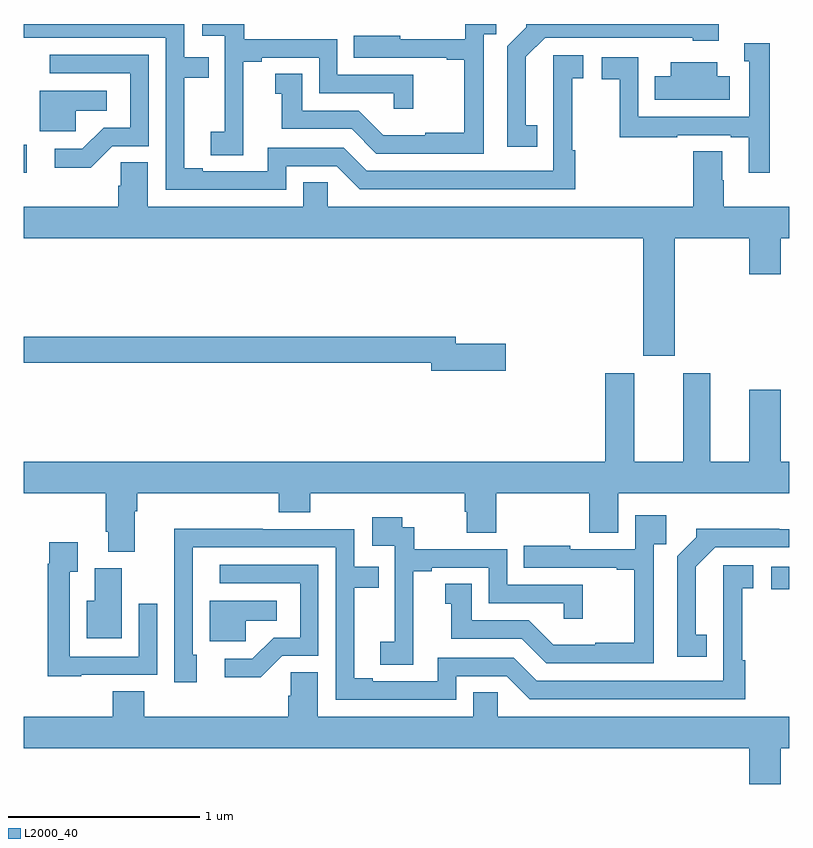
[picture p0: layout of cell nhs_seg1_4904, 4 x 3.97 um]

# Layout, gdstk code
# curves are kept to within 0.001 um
import gdstk
lib = gdstk.Library(unit=1e-6, precision=1e-09)
def R(c, l, rs):  # rectangles x0, y0, x1, y1
    for r in rs: c.add(gdstk.rectangle(r[:2], r[2:], *l))
def P(c, l, *ps):  # polygons
    for p in ps: c.add(gdstk.Polygon(p, *l))
L2000_40 = (2000, 40)

nhs_seg1_4904 = lib.new_cell('nhs_seg1_4904')
R(nhs_seg1_4904, L2000_40, [(380.907,535.246,381,535.362), (377,537.423,377.017,537.567)])
P(nhs_seg1_4904, L2000_40, [(378.372,537.456),(378.636,537.456),(378.756,537.336),(379.883,537.336),(379.883,537.539),(379.866,537.539),(379.866,537.915),(379.924,537.915),(379.924,538.036),(379.766,538.036),(379.767,537.432),(378.792,537.432),(378.672,537.552),(378.276,537.552),(378.276,537.429),(377.935,537.429),(377.935,537.444),(377.839,537.444),(377.839,537.918),(377.966,537.918),(377.966,538.026),(377.838,538.026),(377.838,538.199),(377,538.199),(377,538.128),(377.742,538.128),(377.742,537.333),(378.372,537.333)],
  [(379.404,538.145),(379.469,538.145),(379.469,538.199),(379.308,538.199),(379.308,538.119),(378.967,538.119),(378.967,538.138),(378.724,538.138),(378.724,538.023),(379.211,538.023),(379.211,538.011),(379.303,538.011),(379.303,537.631),(379.097,537.631),(379.097,537.619),(378.878,537.619),(378.75,537.747),(378.454,537.747),(378.454,537.938),(378.314,537.938),(378.314,537.835),(378.347,537.835),(378.347,537.651),(378.714,537.651),(378.843,537.522),(379.404,537.522)],
  [(379.682,537.671),(379.624,537.671),(379.624,538.027),(379.725,538.128),(380.496,538.128),(380.496,538.112),(380.632,538.112),(380.632,538.199),(379.626,538.199),(379.626,538.181),(379.527,538.082),(379.527,537.558),(379.682,537.558)],
  [(378.146,537.625),(378.148,537.625),(378.148,538.003),(378.244,538.003),(378.244,538.023),(378.543,538.023),(378.543,537.837),(378.933,537.837),(378.933,537.756),(379.034,537.756),(379.034,537.933),(378.639,537.933),(378.639,538.119),(378.152,538.119),(378.152,538.199),(377.934,538.199),(377.934,538.137),(378.051,538.137),(378.051,537.833),(378.05,537.833),(378.05,537.636),(377.976,537.636),(377.976,537.514),(378.146,537.514)],
  [(380.899,538.099),(380.765,538.099),(380.765,538.005),(380.79,538.005),(380.79,537.714),(380.211,537.714),(380.211,538.026),(380.019,538.026),(380.019,537.91),(380.113,537.91),(380.113,537.606),(380.414,537.606),(380.414,537.618),(380.693,537.618),(380.693,537.606),(380.789,537.606),(380.789,537.423),(380.899,537.423)],
  [(377.463,537.561),(377.652,537.561),(377.652,538.038),(377.136,538.038),(377.136,537.942),(377.556,537.942),(377.556,537.657),(377.418,537.657),(377.307,537.546),(377.163,537.546),(377.163,537.449),(377.35,537.449)],
  [(380.689,537.925),(380.623,537.925),(380.623,538),(380.381,538),(380.381,537.925),(380.296,537.925),(380.296,537.803),(380.689,537.803)],
  [(377.271,537.746),(377.434,537.746),(377.434,537.85),(377.084,537.85),(377.084,537.639),(377.271,537.639)],
  [(380.401,537.08),(380.792,537.08),(380.792,536.892),(380.956,536.892),(380.956,537.08),(381,537.08),(381,537.244),(380.658,537.244),(380.658,537.383),(380.65,537.383),(380.65,537.533),(380.498,537.533),(380.498,537.244),(378.588,537.244),(378.588,537.371),(378.461,537.371),(378.461,537.244),(377.647,537.244),(377.647,537.476),(377.508,537.476),(377.508,537.353),(377.495,537.353),(377.495,537.244),(377,537.244),(377,537.08),(380.237,537.08),(380.237,536.466),(380.401,536.466)],
  [(379.519,536.528),(379.258,536.528),(379.258,536.564),(377,536.564),(377,536.428),(379.13,536.428),(379.13,536.386),(379.519,536.386)],
  [(377,535.748),(377.429,535.748),(377.429,535.546),(377.441,535.546),(377.441,535.441),(377.581,535.441),(377.581,535.652),(377.594,535.652),(377.594,535.748),(378.332,535.748),(378.332,535.649),(378.497,535.649),(378.497,535.748),(379.304,535.748),(379.304,535.65),(379.316,535.65),(379.316,535.54),(379.469,535.54),(379.469,535.748),(379.955,535.748),(379.955,535.54),(380.107,535.54),(380.107,535.748),(381,535.748),(381,535.912),(380.956,535.912),(380.956,536.287),(380.792,536.287),(380.792,535.912),(380.587,535.912),(380.587,536.374),(380.447,536.374),(380.447,535.912),(380.191,535.912),(380.191,536.374),(380.039,536.374),(380.039,535.912),(377,535.912)],
  [(380.292,535.481),(380.357,535.481),(380.357,535.633),(380.196,535.633),(380.196,535.455),(379.855,535.455),(379.855,535.474),(379.612,535.474),(379.612,535.359),(380.099,535.359),(380.099,535.347),(380.191,535.347),(380.191,534.967),(379.985,534.967),(379.985,534.955),(379.766,534.955),(379.638,535.083),(379.342,535.083),(379.342,535.274),(379.202,535.274),(379.202,535.171),(379.235,535.171),(379.235,534.987),(379.602,534.987),(379.731,534.858),(380.292,534.858)],
  [(379.034,534.961),(379.036,534.961),(379.036,535.339),(379.132,535.339),(379.132,535.359),(379.431,535.359),(379.431,535.173),(379.821,535.173),(379.821,535.092),(379.922,535.092),(379.922,535.269),(379.527,535.269),(379.527,535.455),(379.04,535.455),(379.04,535.569),(378.978,535.569),(378.978,535.621),(378.822,535.621),(378.822,535.473),(378.939,535.473),(378.939,535.169),(378.938,535.169),(378.938,534.972),(378.864,534.972),(378.864,534.85),(379.034,534.85)],
  [(380.57,535.007),(380.512,535.007),(380.512,535.363),(380.613,535.464),(381,535.464),(381,535.56),(380.948,535.56),(380.948,535.562),(380.514,535.562),(380.514,535.517),(380.415,535.418),(380.415,534.894),(380.57,534.894)],
  [(379.26,534.792),(379.524,534.792),(379.644,534.672),(380.771,534.672),(380.771,534.875),(380.754,534.875),(380.754,535.251),(380.812,535.251),(380.812,535.372),(380.654,535.372),(380.655,534.768),(379.68,534.768),(379.56,534.888),(379.164,534.888),(379.164,534.765),(378.823,534.765),(378.823,534.78),(378.727,534.78),(378.727,535.254),(378.854,535.254),(378.854,535.362),(378.726,535.362),(378.726,535.56),(378.248,535.56),(378.248,535.562),(377.786,535.562),(377.787,534.759),(377.905,534.759),(377.905,534.903),(377.883,534.903),(377.883,535.464),(378.63,535.464),(378.63,534.669),(379.26,534.669)],
  [(377.301,534.798),(377.697,534.798),(377.697,535.171),(377.601,535.171),(377.601,534.894),(377.241,534.894),(377.241,535.336),(377.281,535.336),(377.281,535.492),(377.133,535.492),(377.133,535.379),(377.125,535.379),(377.125,534.791),(377.301,534.791)],
  [(378.351,534.897),(378.54,534.897),(378.54,535.374),(378.024,535.374),(378.024,535.278),(378.444,535.278),(378.444,534.993),(378.306,534.993),(378.195,534.882),(378.051,534.882),(378.051,534.785),(378.238,534.785)],
  [(377.512,535.356),(377.372,535.356),(377.372,535.186),(377.33,535.186),(377.33,534.989),(377.512,534.989)],
  [(378.159,535.082),(378.322,535.082),(378.322,535.186),(377.972,535.186),(377.972,534.975),(378.159,534.975)],
  [(379.476,534.707),(379.349,534.707),(379.349,534.58),(378.535,534.58),(378.535,534.812),(378.396,534.812),(378.396,534.689),(378.383,534.689),(378.383,534.58),(377.63,534.58),(377.63,534.713),(377.465,534.713),(377.465,534.58),(377,534.58),(377,534.416),(380.792,534.416),(380.792,534.228),(380.956,534.228),(380.956,534.416),(381,534.416),(381,534.58),(379.476,534.58)])

lib.write_gds('nhs_seg1_4904.gds')
